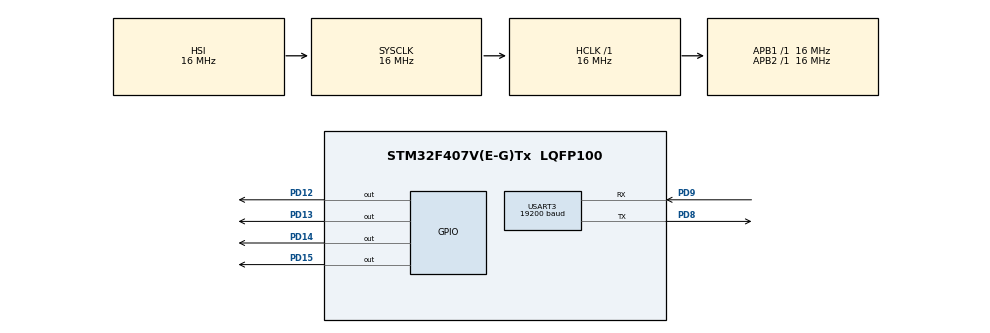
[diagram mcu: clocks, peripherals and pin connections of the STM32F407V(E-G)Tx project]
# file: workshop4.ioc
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Mcu.Family=STM32F4
Mcu.Name=STM32F407V(E-G)Tx
Mcu.Package=LQFP100
NVIC.PriorityGroup=NVIC_PRIORITYGROUP_4
NVIC.USART3_IRQn=true\:0\:0\:false\:false\:true\:true\:true\:true
PD12.Signal=GPIO_Output
PD13.Signal=GPIO_Output
PD14.Signal=GPIO_Output
PD15.Signal=GPIO_Output
PD8.Mode=Asynchronous
PD8.Signal=USART3_TX
PD9.Mode=Asynchronous
PD9.Signal=USART3_RX
ProjectManager.HeapSize=0x200
ProjectManager.StackSize=0x400
ProjectManager.TargetToolchain=STM32CubeIDE
RCC.AHBFreq_Value=16000000
RCC.APB1Freq_Value=16000000
RCC.APB2Freq_Value=16000000
RCC.CortexFreq_Value=16000000
RCC.HSE_VALUE=25000000
RCC.HSI_VALUE=16000000
RCC.LSE_VALUE=32768
RCC.SYSCLKFreq_VALUE=16000000
RCC.VCOOutputFreq_Value=192000000
USART3.BaudRate=19200
USART3.VirtualMode=VM_ASYNC
board=custom

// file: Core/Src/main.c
/* USER CODE BEGIN Header */
/**
  ******************************************************************************
  * @file           : main.c
  * @brief          : Main program body
  ******************************************************************************
  * @attention
  *
  * Copyright (c) 2026 STMicroelectronics.
  * All rights reserved.
  *
  * This software is licensed under terms that can be found in the LICENSE file
  * in the root directory of this software component.
  * If no LICENSE file comes with this software, it is provided AS-IS.
  *
  ******************************************************************************
  */
/* USER CODE END Header */
#include "main.h"

/* USER CODE BEGIN Includes */
#include <string.h>
/* USER CODE END Includes */

UART_HandleTypeDef huart3;

/* USER CODE BEGIN PV */
uint8_t rxByte = 0;
/* USER CODE END PV */

void SystemClock_Config(void);
static void MX_GPIO_Init(void);
static void MX_USART3_UART_Init(void);

/* USER CODE BEGIN 0 */
static void sendText(const char *text)
{
  HAL_UART_Transmit(&huart3, (uint8_t *)text, strlen(text), HAL_MAX_DELAY);
}

static void setLed(uint16_t pin, GPIO_PinState state, const char *reply)
{
  HAL_GPIO_WritePin(GPIOD, pin, state);
  sendText(reply);
}

static void setAllLeds(GPIO_PinState state)
{
  HAL_GPIO_WritePin(GPIOD,
                    GPIO_PIN_12 | GPIO_PIN_13 | GPIO_PIN_14 | GPIO_PIN_15,
                    state);
}

static void printCommands(void)
{
  sendText("\r\nCommands:\r\n");
  sendText("G/g - GREEN ON/OFF\r\n");
  sendText("O/o - ORANGE ON/OFF\r\n");
  sendText("R/r - RED ON/OFF\r\n");
  sendText("B/b - BLUE ON/OFF\r\n");
  sendText("A   - ALL LEDS ON\r\n");
  sendText("x   - ALL LEDS OFF\r\n");
  sendText("?   - show commands\r\n\r\n");
}

static void handleUartCommand(uint8_t command)
{
  switch (command)
  {
    case 'G':
      setLed(GPIO_PIN_12, GPIO_PIN_SET, "GREEN ON\r\n");
      break;

    case 'g':
      setLed(GPIO_PIN_12, GPIO_PIN_RESET, "GREEN OFF\r\n");
      break;

    case 'O':
      setLed(GPIO_PIN_13, GPIO_PIN_SET, "ORANGE ON\r\n");
      break;

    case 'o':
      setLed(GPIO_PIN_13, GPIO_PIN_RESET, "ORANGE OFF\r\n");
      break;

    case 'R':
      setLed(GPIO_PIN_14, GPIO_PIN_SET, "RED ON\r\n");
      break;

    case 'r':
      setLed(GPIO_PIN_14, GPIO_PIN_RESET, "RED OFF\r\n");
      break;

    case 'B':
      setLed(GPIO_PIN_15, GPIO_PIN_SET, "BLUE ON\r\n");
      break;

    case 'b':
      setLed(GPIO_PIN_15, GPIO_PIN_RESET, "BLUE OFF\r\n");
      break;

    case 'A':
      setAllLeds(GPIO_PIN_SET);
      sendText("ALL LEDS ON\r\n");
      break;

    case 'x':
    case 'X':
      setAllLeds(GPIO_PIN_RESET);
      sendText("ALL LEDS OFF\r\n");
      break;

    case '?':
      printCommands();
      break;

    case '\r':
    case '\n':
      break;

    default:
      sendText("UNKNOWN COMMAND\r\n");
      break;
  }
}

void HAL_UART_RxCpltCallback(UART_HandleTypeDef *huart)
{
  if (huart->Instance == USART3)
  {
    handleUartCommand(rxByte);
    HAL_UART_Receive_IT(&huart3, &rxByte, 1);
  }
}
/* USER CODE END 0 */

int main(void)
{

  /* MCU Configuration--------------------------------------------------------*/

  /* Reset of all peripherals, Initializes the Flash interface and the Systick. */
  HAL_Init();

  /* Configure the system clock */
  SystemClock_Config();

  /* Initialize all configured peripherals */
  MX_GPIO_Init();
  MX_USART3_UART_Init();
  /* USER CODE BEGIN 2 */
  setAllLeds(GPIO_PIN_RESET);

  sendText("\r\nUSART interrupt letter-control is ready\r\n");
  printCommands();

  HAL_UART_Receive_IT(&huart3, &rxByte, 1);
  /* USER CODE END 2 */

  /* Infinite loop */
  while (1)
  {

  }
}

void SystemClock_Config(void)
{
  RCC_OscInitTypeDef RCC_OscInitStruct = {0};
  RCC_ClkInitTypeDef RCC_ClkInitStruct = {0};

  /** Configure the main internal regulator output voltage
  */
  __HAL_RCC_PWR_CLK_ENABLE();
  __HAL_PWR_VOLTAGESCALING_CONFIG(PWR_REGULATOR_VOLTAGE_SCALE1);

  /** Initializes the RCC Oscillators according to the specified parameters
  * in the RCC_OscInitTypeDef structure.
  */
  RCC_OscInitStruct.OscillatorType = RCC_OSCILLATORTYPE_HSI;
  RCC_OscInitStruct.HSIState = RCC_HSI_ON;
  RCC_OscInitStruct.HSICalibrationValue = RCC_HSICALIBRATION_DEFAULT;
  RCC_OscInitStruct.PLL.PLLState = RCC_PLL_NONE;
  if (HAL_RCC_OscConfig(&RCC_OscInitStruct) != HAL_OK)
  {
    Error_Handler();
  }

  /** Initializes the CPU, AHB and APB buses clocks
  */
  RCC_ClkInitStruct.ClockType = RCC_CLOCKTYPE_HCLK|RCC_CLOCKTYPE_SYSCLK
                              |RCC_CLOCKTYPE_PCLK1|RCC_CLOCKTYPE_PCLK2;
  RCC_ClkInitStruct.SYSCLKSource = RCC_SYSCLKSOURCE_HSI;
  RCC_ClkInitStruct.AHBCLKDivider = RCC_SYSCLK_DIV1;
  RCC_ClkInitStruct.APB1CLKDivider = RCC_HCLK_DIV1;
  RCC_ClkInitStruct.APB2CLKDivider = RCC_HCLK_DIV1;

  if (HAL_RCC_ClockConfig(&RCC_ClkInitStruct, FLASH_LATENCY_0) != HAL_OK)
  {
    Error_Handler();
  }
}

static void MX_USART3_UART_Init(void)
{

  huart3.Instance = USART3;
  huart3.Init.BaudRate = 19200;
  huart3.Init.WordLength = UART_WORDLENGTH_8B;
  huart3.Init.StopBits = UART_STOPBITS_1;
  huart3.Init.Parity = UART_PARITY_NONE;
  huart3.Init.Mode = UART_MODE_TX_RX;
  huart3.Init.HwFlowCtl = UART_HWCONTROL_NONE;
  huart3.Init.OverSampling = UART_OVERSAMPLING_16;
  if (HAL_UART_Init(&huart3) != HAL_OK)
  {
    Error_Handler();
  }

}

static void MX_GPIO_Init(void)
{
  GPIO_InitTypeDef GPIO_InitStruct = {0};

  /* GPIO Ports Clock Enable */
  __HAL_RCC_GPIOD_CLK_ENABLE();

  /*Configure GPIO pin Output Level */
  HAL_GPIO_WritePin(GPIOD, GPIO_PIN_12|GPIO_PIN_13|GPIO_PIN_14|GPIO_PIN_15, GPIO_PIN_RESET);

  /*Configure GPIO pins : PD12 PD13 PD14 PD15 */
  GPIO_InitStruct.Pin = GPIO_PIN_12|GPIO_PIN_13|GPIO_PIN_14|GPIO_PIN_15;
  GPIO_InitStruct.Mode = GPIO_MODE_OUTPUT_PP;
  GPIO_InitStruct.Pull = GPIO_NOPULL;
  GPIO_InitStruct.Speed = GPIO_SPEED_FREQ_LOW;
  HAL_GPIO_Init(GPIOD, &GPIO_InitStruct);

}

void Error_Handler(void)
{
  __disable_irq();
  while (1)
  {
  }
}
